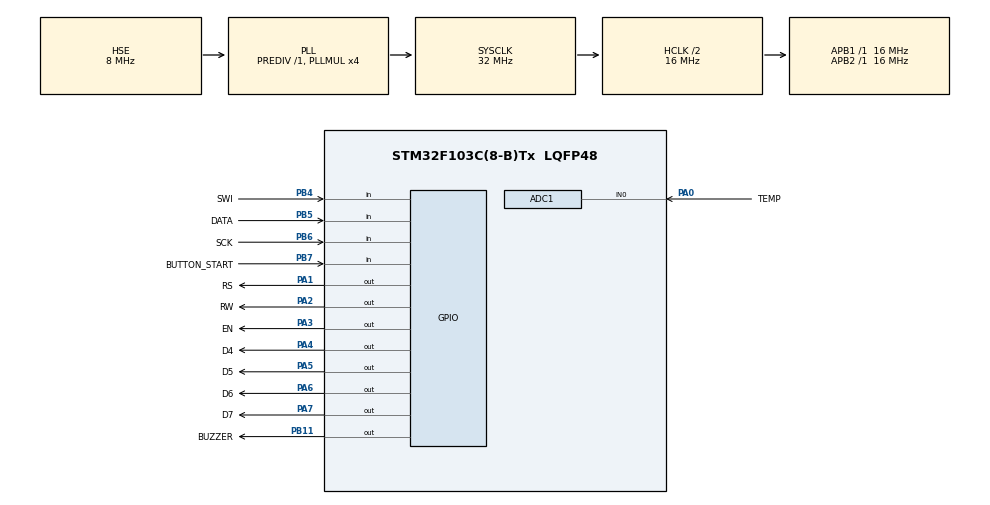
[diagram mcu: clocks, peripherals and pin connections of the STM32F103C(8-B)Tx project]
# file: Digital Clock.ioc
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ADC1.Channel-2\#ChannelRegularConversion=ADC_CHANNEL_0
ADC1.ContinuousConvMode=ENABLE
ADC1.NbrOfConversion=1
ADC1.NbrOfConversionFlag=1
ADC1.Rank-2\#ChannelRegularConversion=1
ADC1.SamplingTime-2\#ChannelRegularConversion=ADC_SAMPLETIME_41CYCLES_5
ADC1.master=1
Dma.ADC1.0.Direction=DMA_PERIPH_TO_MEMORY
Dma.ADC1.0.Instance=DMA1_Channel1
Dma.ADC1.0.MemDataAlignment=DMA_MDATAALIGN_WORD
Dma.ADC1.0.MemInc=DMA_MINC_ENABLE
Dma.ADC1.0.Mode=DMA_CIRCULAR
Dma.ADC1.0.PeriphDataAlignment=DMA_PDATAALIGN_WORD
Dma.ADC1.0.PeriphInc=DMA_PINC_DISABLE
Dma.ADC1.0.Priority=DMA_PRIORITY_LOW
Dma.Request0=ADC1
Mcu.Family=STM32F1
Mcu.Name=STM32F103C(8-B)Tx
Mcu.Package=LQFP48
NVIC.ADC1_2_IRQn=true\:0\:0\:false\:false\:true\:true\:true\:true
NVIC.DMA1_Channel1_IRQn=true\:0\:0\:false\:false\:true\:false\:true\:true
NVIC.PriorityGroup=NVIC_PRIORITYGROUP_4
NVIC.TIM1_UP_IRQn=true\:0\:0\:false\:false\:true\:true\:true\:true
PA0-WKUP.GPIO_Label=TEMP
PA0-WKUP.Signal=ADCx_IN0
PA1.GPIO_Label=RS
PA1.Signal=GPIO_Output
PA13.Mode=Serial_Wire
PA13.Signal=SYS_JTMS-SWDIO
PA14.Mode=Serial_Wire
PA14.Signal=SYS_JTCK-SWCLK
PA2.GPIO_Label=RW
PA2.Signal=GPIO_Output
PA3.GPIO_Label=EN
PA3.Signal=GPIO_Output
PA4.GPIO_Label=D4
PA4.Signal=GPIO_Output
PA5.GPIO_Label=D5
PA5.Signal=GPIO_Output
PA6.GPIO_Label=D6
PA6.Signal=GPIO_Output
PA7.GPIO_Label=D7
PA7.Signal=GPIO_Output
PB11.GPIO_Label=BUZZER
PB11.Signal=GPIO_Output
PB4.GPIO_Label=SWI
PB4.GPIO_PuPd=GPIO_PULLUP
PB4.Signal=GPIO_Input
PB5.GPIO_Label=DATA
PB5.GPIO_PuPd=GPIO_PULLUP
PB5.Signal=GPIO_Input
PB6.GPIO_Label=SCK
PB6.GPIO_PuPd=GPIO_PULLUP
PB6.Signal=GPIO_Input
PB7.GPIO_Label=BUTTON_START
PB7.GPIO_PuPd=GPIO_PULLUP
PB7.Signal=GPIO_Input
PD0-OSC_IN.Mode=HSE-External-Oscillator
PD0-OSC_IN.Signal=RCC_OSC_IN
PD1-OSC_OUT.Mode=HSE-External-Oscillator
PD1-OSC_OUT.Signal=RCC_OSC_OUT
ProjectManager.HeapSize=0x200
ProjectManager.StackSize=0x400
ProjectManager.TargetToolchain=STM32CubeIDE
RCC.AHBCLKDivider=RCC_SYSCLK_DIV2
RCC.AHBFreq_Value=16000000
RCC.APB1Freq_Value=16000000
RCC.APB1TimFreq_Value=16000000
RCC.APB2Freq_Value=16000000
RCC.APB2TimFreq_Value=16000000
RCC.HCLKFreq_Value=16000000
RCC.PLLMUL=RCC_PLL_MUL4
RCC.PLLSourceVirtual=RCC_PLLSOURCE_HSE
RCC.RTCClockSelection=RCC_RTCCLKSOURCE_LSE
RCC.SYSCLKFreq_VALUE=32000000
RCC.SYSCLKSource=RCC_SYSCLKSOURCE_PLLCLK
RCC.USBFreq_Value=32000000
SH.ADCx_IN0.0=ADC1_IN0,IN0
VP_TIM1_VS_ClockSourceINT.Mode=Internal
board=custom

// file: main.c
/* USER CODE BEGIN Header */
/**
  ******************************************************************************
  * @file           : main.c
  * @brief          : Main program body
  ******************************************************************************
  * @attention
  *
  * Copyright (c) 2025 STMicroelectronics.
  * All rights reserved.
  *
  * This software is licensed under terms that can be found in the LICENSE file
  * in the root directory of this software component.
  * If no LICENSE file comes with this software, it is provided AS-IS.
  *
  ******************************************************************************
  */
/* USER CODE END Header */
#include "main.h"

/* USER CODE BEGIN Includes */
#include <CODENIC_LCD.h>
#include <Rotary.h>
#include <stdio.h>
#include <stdbool.h>

#define DMAlen 100
/* USER CODE END Includes */

ADC_HandleTypeDef hadc1;
DMA_HandleTypeDef hdma_adc1;

TIM_HandleTypeDef htim1;

/* USER CODE BEGIN PV */
RotaryHandler rotary;

char display[16];

uint32_t temp, getTemp[DMAlen];
int second, minute, hour;
int minuteA = -1, hourA = 0;
int day, month;
int weekDay;

bool alarmMode;
/* USER CODE END PV */

void SystemClock_Config(void);
static void MX_GPIO_Init(void);
static void MX_DMA_Init(void);
static void MX_TIM1_Init(void);
static void MX_ADC1_Init(void);

/* USER CODE BEGIN 0 */
void HAL_ADC_ConvCpltCallback(ADC_HandleTypeDef* hadc)
{
	if(hadc == &hadc1) {
		for(uint16_t len = 0; len < DMAlen; len++) {
			temp += getTemp[len];
		}
		temp /= DMAlen;
		temp *= 3.3;
		temp *= 100;
		temp /= 4095;
	}
}

void HAL_TIM_PeriodElapsedCallback(TIM_HandleTypeDef *htim)
{
	if(HAL_GPIO_ReadPin(BUTTON_START_GPIO_Port, BUTTON_START_Pin) == 0) {
		second++;
		if(second > 59) {second = 0; minute++;}
		if(minute > 59) {minute = 0; hour++;}
		if(hour > 23) {day++; weekDay++; hour = 0;}
		if(weekDay > 7) {weekDay = 0;}
		if(day > 31 && month < 7) {day = 0; month++;}
		if(day > 30 && month > 6) {day = 0; month++;}
		if(month > 12) {month = 0;}

	}
	else {
		return;
	}

}

void startup(void) {
	HAL_GPIO_WritePin(BUZZER_GPIO_Port, BUZZER_Pin, RESET);
	HAL_GPIO_WritePin(RW_GPIO_Port, RW_Pin, RESET);

	htim1.Init.AutoReloadPreload = TIM_AUTORELOAD_PRELOAD_DISABLE;
	htim1.Init.ClockDivision = TIM_CLOCKDIVISION_DIV1;
	htim1.Init.CounterMode = TIM_COUNTERMODE_UP;
	htim1.Init.Period = 999;
	htim1.Init.Prescaler = 15999;
	if(HAL_TIM_Base_Init(&htim1) != HAL_OK) {
		Error_Handler();
	}

	LCDCHAR_Init(16, 2);
	LCDCHAR_CursorOff();
	LCDCHAR_Clear();

	RotaryInit(&rotary, GPIOB, SCK_Pin, DATA_Pin, SWI_Pin);

	HAL_ADC_Start_DMA(&hadc1, getTemp, DMAlen);
}

void Alarm(void) {
	if(hour == hourA && minute == minuteA && second == 0) {
		LCDCHAR_Clear();
		RotarySetCounter(&rotary, 0);
		RotarySetSwitchCounter(&rotary, 0);

		alarmMode = 1;

		do {
			if(__HAL_TIM_GET_COUNTER(&htim1) > 500) {HAL_GPIO_WritePin(BUZZER_GPIO_Port, BUZZER_Pin, SET);}
			else {HAL_GPIO_WritePin(BUZZER_GPIO_Port, BUZZER_Pin, RESET);}
			RotaryBegin(&rotary);
			LCDCHAR_Puts(0, 0, "Wake Up!");
		} while(RotaryGetSwitchState(&rotary) != RotarySwitchON);
		LCDCHAR_Clear();
		RotarySetCounter(&rotary, 0);
		RotarySetSwitchCounter(&rotary, 0);

		alarmMode = 0;

		HAL_GPIO_WritePin(BUZZER_GPIO_Port, BUZZER_Pin, RESET);
	}
}

void startCLock(void) {
	switch(HAL_GPIO_ReadPin(BUTTON_START_GPIO_Port, BUTTON_START_Pin)) {
	case RESET:
		HAL_TIM_Base_Start_IT(&htim1);
		break;

	case SET:
		HAL_TIM_Base_Stop_IT(&htim1);
		break;
	}
}

void setWeekDay(void) {
	switch(weekDay) {
	case 0:
		LCDCHAR_Puts(10, 1, "SUN");
		break;

	case 1:
		LCDCHAR_Puts(10, 1, "MON");
		break;

	case 2:
		LCDCHAR_Puts(10, 1, "THU");
		break;

	case 3:
		LCDCHAR_Puts(10, 1, "WEN");
		break;

	case 4:
		LCDCHAR_Puts(10, 1, "THE");
		break;

	case 5:
		LCDCHAR_Puts(10, 1, "FRI");
		break;

	case 6:
		LCDCHAR_Puts(10, 1, "SAT");
		break;
	}
}

void resetSettings(void) {
	if(alarmMode == 1) {Alarm();}
	HAL_NVIC_SystemReset();
}

void alarmSetting(void) {
	RotarySetCounter(&rotary, hourA);
	RotarySetSwitchCounter(&rotary, 0);

	LCDCHAR_Clear();

	LCDCHAR_Puts(0, 0, "Alarm");
	HAL_Delay(1000);
	LCDCHAR_Clear();

	while(1) {
		if(alarmMode == 1) {Alarm();}

		RotaryBegin(&rotary);

		if(RotaryGetSwitchState(&rotary) == RotarySwitchON) {
			LCDCHAR_Clear();
			switch(RotaryGetSwitchCounter(&rotary)) {
			case 0:
				RotarySetCounter(&rotary, hourA);
				break;
			case 1:
				RotarySetCounter(&rotary, minuteA);
				break;
			}
		}

		switch(RotaryGetSwitchCounter(&rotary)) {
		case 0:
			sprintf(display, "Hour : %02d", hourA);
			LCDCHAR_Puts(0, 0, display);

			if(RotaryGetCounter(&rotary) == -1) {RotarySetCounter(&rotary, 23);}
			else if(RotaryGetCounter(&rotary) > 23) {RotarySetCounter(&rotary, 0);}
			else {hourA = RotaryGetCounter(&rotary);}
			break;
		case 1:
			sprintf(display, "Minute : %02d", minuteA);
			LCDCHAR_Puts(0, 0, display);

			if(RotaryGetCounter(&rotary) == -1) {RotarySetCounter(&rotary, 59);}
			else if(RotaryGetCounter(&rotary) > 59) {RotarySetCounter(&rotary, 0);}
			else {minuteA = RotaryGetCounter(&rotary);}
			break;
		case 2:
			LCDCHAR_Clear();
			LCDCHAR_Puts(0, 0, "Alarm Setting");
			LCDCHAR_Puts(0, 1, "Saved");
			HAL_Delay(1000);

			RotarySetCounter(&rotary, 2);
			RotarySetSwitchCounter(&rotary, 0);
			LCDCHAR_Clear();
			return;
			break;
		}
	}
}

void dateSetting(void) {
	RotarySetCounter(&rotary, month);
	RotarySetSwitchCounter(&rotary, 0);

	LCDCHAR_Clear();

	LCDCHAR_Puts(0, 0, "Date");
	HAL_Delay(1000);
	LCDCHAR_Clear();

	while(1) {
		if(alarmMode == 1) {Alarm();}

		RotaryBegin(&rotary);

		if(RotaryGetSwitchState(&rotary) == RotarySwitchON) {
			LCDCHAR_Clear();
			switch(RotaryGetSwitchCounter(&rotary)) {
			case 0:
				RotarySetCounter(&rotary, month);
				break;
			case 1:
				RotarySetCounter(&rotary, day);
				break;
			case 2:
				RotarySetCounter(&rotary, weekDay);
				break;
			}
		}

		switch(RotaryGetSwitchCounter(&rotary)) {
		case 0:
			sprintf(display, "Month : %02d", month);
			LCDCHAR_Puts(0, 0, display);

			if(RotaryGetCounter(&rotary) == -1) {RotarySetCounter(&rotary, 12);}
			else if(RotaryGetCounter(&rotary) > 12) {RotarySetCounter(&rotary, 0);}
			else {month = RotaryGetCounter(&rotary);}
			break;

		case 1:
			sprintf(display, "Day : %02d", day);
			LCDCHAR_Puts(0, 0, display);

			if(RotaryGetCounter(&rotary) == -1) {RotarySetCounter(&rotary, 31);}
			else if(RotaryGetCounter(&rotary) > 31) {RotarySetCounter(&rotary, 0);}
			else {day = RotaryGetCounter(&rotary);}
			break;

		case 2:
			switch(weekDay) {
			case 0:
				sprintf(display, "Week Day : SUN");
				LCDCHAR_Puts(0, 0, display);
				break;

			case 1:
				sprintf(display, "Week Day : MON");
				LCDCHAR_Puts(0, 0, display);
				break;

			case 2:
				sprintf(display, "Week Day : TUE");
				LCDCHAR_Puts(0, 0, display);
				break;

			case 3:
				sprintf(display, "Week Day : WEN");
				LCDCHAR_Puts(0, 0, display);
				break;

			case 4:
				sprintf(display, "Week Day : THE");
				LCDCHAR_Puts(0, 0, display);
				break;

			case 5:
				sprintf(display, "Week Day : FRI");
				LCDCHAR_Puts(0, 0, display);
				break;

			case 6:
				sprintf(display, "Week Day : SAT");
				LCDCHAR_Puts(0, 0, display);
				break;
			}

			if(RotaryGetCounter(&rotary) == -1) {RotarySetCounter(&rotary, 6);}
			else if(RotaryGetCounter(&rotary) > 6) {RotarySetCounter(&rotary, 0);}
			else {weekDay = RotaryGetCounter(&rotary);}
			break;

		case 3:
			LCDCHAR_Clear();
			LCDCHAR_Puts(0, 0, "Date Setting");
			LCDCHAR_Puts(0, 1, "Saved");
			HAL_Delay(1000);

			RotarySetCounter(&rotary, 1);
			RotarySetSwitchCounter(&rotary, 0);
			LCDCHAR_Clear();
			return;
			break;
		}
	}
}

void timeSetting(void) {
	RotarySetCounter(&rotary, hour);
	RotarySetSwitchCounter(&rotary, 0);

	LCDCHAR_Clear();

	LCDCHAR_Puts(0, 0, "Time");
	HAL_Delay(1000);
	LCDCHAR_Clear();

	while(1) {
		if(alarmMode == 1) {Alarm();}
		RotaryBegin(&rotary);

		if(RotaryGetSwitchState(&rotary) == RotarySwitchON) {
			LCDCHAR_Clear();
			switch(RotaryGetSwitchCounter(&rotary)) {
			case 0:
				RotarySetCounter(&rotary, hour);
				break;
			case 1:
				RotarySetCounter(&rotary, minute);
				break;
			case 2:
				RotarySetCounter(&rotary, second);
				break;
			}
		}

		switch(RotaryGetSwitchCounter(&rotary)) {
		case 0:
			sprintf(display, "Hour : %02d", hour);
			LCDCHAR_Puts(0, 0, display);

			if(RotaryGetCounter(&rotary) == -1) {RotarySetCounter(&rotary, 23);}
			else if(RotaryGetCounter(&rotary) > 23) {RotarySetCounter(&rotary, 0);}
			else {hour = RotaryGetCounter(&rotary);}
			break;
		case 1:
			sprintf(display, "Minute : %02d", minute);
			LCDCHAR_Puts(0, 0, display);

			if(RotaryGetCounter(&rotary) == -1) {RotarySetCounter(&rotary, 59);}
			else if(RotaryGetCounter(&rotary) > 59) {RotarySetCounter(&rotary, 0);}
			else {minute = RotaryGetCounter(&rotary);}
			break;
		case 2:
			sprintf(display, "Second : %02d", second);
			LCDCHAR_Puts(0, 0, display);

			if(RotaryGetCounter(&rotary) == -1) {RotarySetCounter(&rotary, 59);}
			else if(RotaryGetCounter(&rotary) > 59) {RotarySetCounter(&rotary, 0);}
			else {second = RotaryGetCounter(&rotary);}
			break;
		case 3:
			LCDCHAR_Clear();
			LCDCHAR_Puts(0, 0, "Time Setting");
			LCDCHAR_Puts(0, 1, "Saved");
			HAL_Delay(1000);

			RotarySetCounter(&rotary, 0);
			RotarySetSwitchCounter(&rotary, 0);
			LCDCHAR_Clear();
			return;
			break;
		}
	}
}

void menu(void) {
	LCDCHAR_Clear();
	RotarySetSwitchCounter(&rotary, 0);

	while(1) {
		RotaryBegin(&rotary);
		if(RotaryGetState(&rotary) != RotaryNone) {LCDCHAR_Clear();}

		switch(RotaryGetCounter(&rotary)) {
		case -1:
			RotarySetCounter(&rotary, 4);
			break;
		case 0:
			LCDCHAR_Puts(0, 0, "Time Setting");
			if(RotaryGetSwitchState(&rotary) == RotarySwitchON) {timeSetting();}
			break;
		case 1:
			LCDCHAR_Puts(0, 0, "Date Setting");
			if(RotaryGetSwitchState(&rotary) == RotarySwitchON) {dateSetting();}
			break;
		case 2:
			LCDCHAR_Puts(0, 0, "Alarm Setting");
			if(RotaryGetSwitchState(&rotary) == RotarySwitchON) {alarmSetting();}
			break;
		case 3:
			LCDCHAR_Puts(0, 0, "Reset Settings");
			if(RotaryGetSwitchState(&rotary) == RotarySwitchON) {resetSettings();}
			break;
		case 4:
			LCDCHAR_Puts(0, 0, "Return");
			if(RotaryGetSwitchState(&rotary) == RotarySwitchON) {RotarySetCounter(&rotary, 0); RotarySetSwitchCounter(&rotary, 0); return;}
			break;
		case 5:
			RotarySetCounter(&rotary, 0);
			break;
		}
	}
}

//void getTemp(void) {
//	if(HAL_ADC_PollForConversion(&hadc1, 1000) == HAL_OK) {
//		temp = HAL_ADC_GetValue(&hadc1);
//		temp = temp * 3.3 * 100 / 4095;
//		return;
//	}
//}

void mainDisplay(void) {
	if(RotaryGetSwitchState(&rotary) == RotarySwitchON) {menu();}

	sprintf(display, "%02d:%02d:%02d", hour, minute, second);
	LCDCHAR_Puts(0, 0, display);

	sprintf(display, "%02ld%c", temp, 223);
	LCDCHAR_Puts(10, 0, display);

	sprintf(display, "%02d/%02d", month, day);
	LCDCHAR_Puts(0, 1, display);

	setWeekDay();
}
/* USER CODE END 0 */

int main(void)
{

  /* MCU Configuration--------------------------------------------------------*/

  /* Reset of all peripherals, Initializes the Flash interface and the Systick. */
  HAL_Init();

  /* Configure the system clock */
  SystemClock_Config();

  /* Initialize all configured peripherals */
  MX_GPIO_Init();
  MX_DMA_Init();
  MX_TIM1_Init();
  MX_ADC1_Init();
  /* USER CODE BEGIN 2 */
  startup();
  /* USER CODE END 2 */

  /* Infinite loop */
  /* USER CODE BEGIN WHILE */
  while (1)
  {
	  Alarm();
	  RotaryBegin(&rotary);
	  startCLock();
	  mainDisplay();
    /* USER CODE END WHILE */

  }
}

void SystemClock_Config(void)
{
  RCC_OscInitTypeDef RCC_OscInitStruct = {0};
  RCC_ClkInitTypeDef RCC_ClkInitStruct = {0};
  RCC_PeriphCLKInitTypeDef PeriphClkInit = {0};

  /** Initializes the RCC Oscillators according to the specified parameters
  * in the RCC_OscInitTypeDef structure.
  */
  RCC_OscInitStruct.OscillatorType = RCC_OSCILLATORTYPE_HSE;
  RCC_OscInitStruct.HSEState = RCC_HSE_ON;
  RCC_OscInitStruct.HSEPredivValue = RCC_HSE_PREDIV_DIV1;
  RCC_OscInitStruct.HSIState = RCC_HSI_ON;
  RCC_OscInitStruct.PLL.PLLState = RCC_PLL_ON;
  RCC_OscInitStruct.PLL.PLLSource = RCC_PLLSOURCE_HSE;
  RCC_OscInitStruct.PLL.PLLMUL = RCC_PLL_MUL4;
  if (HAL_RCC_OscConfig(&RCC_OscInitStruct) != HAL_OK)
  {
    Error_Handler();
  }

  /** Initializes the CPU, AHB and APB buses clocks
  */
  RCC_ClkInitStruct.ClockType = RCC_CLOCKTYPE_HCLK|RCC_CLOCKTYPE_SYSCLK
                              |RCC_CLOCKTYPE_PCLK1|RCC_CLOCKTYPE_PCLK2;
  RCC_ClkInitStruct.SYSCLKSource = RCC_SYSCLKSOURCE_PLLCLK;
  RCC_ClkInitStruct.AHBCLKDivider = RCC_SYSCLK_DIV2;
  RCC_ClkInitStruct.APB1CLKDivider = RCC_HCLK_DIV1;
  RCC_ClkInitStruct.APB2CLKDivider = RCC_HCLK_DIV1;

  if (HAL_RCC_ClockConfig(&RCC_ClkInitStruct, FLASH_LATENCY_1) != HAL_OK)
  {
    Error_Handler();
  }
  PeriphClkInit.PeriphClockSelection = RCC_PERIPHCLK_ADC;
  PeriphClkInit.AdcClockSelection = RCC_ADCPCLK2_DIV2;
  if (HAL_RCCEx_PeriphCLKConfig(&PeriphClkInit) != HAL_OK)
  {
    Error_Handler();
  }
}

static void MX_ADC1_Init(void)
{

  ADC_ChannelConfTypeDef sConfig = {0};

  /** Common config
  */
  hadc1.Instance = ADC1;
  hadc1.Init.ScanConvMode = ADC_SCAN_DISABLE;
  hadc1.Init.ContinuousConvMode = ENABLE;
  hadc1.Init.DiscontinuousConvMode = DISABLE;
  hadc1.Init.ExternalTrigConv = ADC_SOFTWARE_START;
  hadc1.Init.DataAlign = ADC_DATAALIGN_RIGHT;
  hadc1.Init.NbrOfConversion = 1;
  if (HAL_ADC_Init(&hadc1) != HAL_OK)
  {
    Error_Handler();
  }

  /** Configure Regular Channel
  */
  sConfig.Channel = ADC_CHANNEL_0;
  sConfig.Rank = ADC_REGULAR_RANK_1;
  sConfig.SamplingTime = ADC_SAMPLETIME_41CYCLES_5;
  if (HAL_ADC_ConfigChannel(&hadc1, &sConfig) != HAL_OK)
  {
    Error_Handler();
  }

}

static void MX_TIM1_Init(void)
{

  TIM_ClockConfigTypeDef sClockSourceConfig = {0};
  TIM_MasterConfigTypeDef sMasterConfig = {0};

  htim1.Instance = TIM1;
  htim1.Init.Prescaler = 0;
  htim1.Init.CounterMode = TIM_COUNTERMODE_UP;
  htim1.Init.Period = 65535;
  htim1.Init.ClockDivision = TIM_CLOCKDIVISION_DIV1;
  htim1.Init.RepetitionCounter = 0;
  htim1.Init.AutoReloadPreload = TIM_AUTORELOAD_PRELOAD_DISABLE;
  if (HAL_TIM_Base_Init(&htim1) != HAL_OK)
  {
    Error_Handler();
  }
  sClockSourceConfig.ClockSource = TIM_CLOCKSOURCE_INTERNAL;
  if (HAL_TIM_ConfigClockSource(&htim1, &sClockSourceConfig) != HAL_OK)
  {
    Error_Handler();
  }
  sMasterConfig.MasterOutputTrigger = TIM_TRGO_RESET;
  sMasterConfig.MasterSlaveMode = TIM_MASTERSLAVEMODE_DISABLE;
  if (HAL_TIMEx_MasterConfigSynchronization(&htim1, &sMasterConfig) != HAL_OK)
  {
    Error_Handler();
  }

}

static void MX_DMA_Init(void)
{

  /* DMA controller clock enable */
  __HAL_RCC_DMA1_CLK_ENABLE();

  /* DMA interrupt init */
  /* DMA1_Channel1_IRQn interrupt configuration */
  HAL_NVIC_SetPriority(DMA1_Channel1_IRQn, 0, 0);
  HAL_NVIC_EnableIRQ(DMA1_Channel1_IRQn);

}

static void MX_GPIO_Init(void)
{
  GPIO_InitTypeDef GPIO_InitStruct = {0};

  /* GPIO Ports Clock Enable */
  __HAL_RCC_GPIOD_CLK_ENABLE();
  __HAL_RCC_GPIOA_CLK_ENABLE();
  __HAL_RCC_GPIOB_CLK_ENABLE();

  /*Configure GPIO pin Output Level */
  HAL_GPIO_WritePin(GPIOA, RS_Pin|RW_Pin|EN_Pin|D4_Pin
                          |D5_Pin|D6_Pin|D7_Pin, GPIO_PIN_RESET);

  /*Configure GPIO pin Output Level */
  HAL_GPIO_WritePin(BUZZER_GPIO_Port, BUZZER_Pin, GPIO_PIN_RESET);

  /*Configure GPIO pins : RS_Pin RW_Pin EN_Pin D4_Pin
                           D5_Pin D6_Pin D7_Pin */
  GPIO_InitStruct.Pin = RS_Pin|RW_Pin|EN_Pin|D4_Pin
                          |D5_Pin|D6_Pin|D7_Pin;
  GPIO_InitStruct.Mode = GPIO_MODE_OUTPUT_PP;
  GPIO_InitStruct.Pull = GPIO_NOPULL;
  GPIO_InitStruct.Speed = GPIO_SPEED_FREQ_LOW;
  HAL_GPIO_Init(GPIOA, &GPIO_InitStruct);

  /*Configure GPIO pin : BUZZER_Pin */
  GPIO_InitStruct.Pin = BUZZER_Pin;
  GPIO_InitStruct.Mode = GPIO_MODE_OUTPUT_PP;
  GPIO_InitStruct.Pull = GPIO_NOPULL;
  GPIO_InitStruct.Speed = GPIO_SPEED_FREQ_LOW;
  HAL_GPIO_Init(BUZZER_GPIO_Port, &GPIO_InitStruct);

  /*Configure GPIO pins : SWI_Pin DATA_Pin SCK_Pin BUTTON_START_Pin */
  GPIO_InitStruct.Pin = SWI_Pin|DATA_Pin|SCK_Pin|BUTTON_START_Pin;
  GPIO_InitStruct.Mode = GPIO_MODE_INPUT;
  GPIO_InitStruct.Pull = GPIO_PULLUP;
  HAL_GPIO_Init(GPIOB, &GPIO_InitStruct);

}

void Error_Handler(void)
{
  __disable_irq();
  while (1)
  {
  }
}
